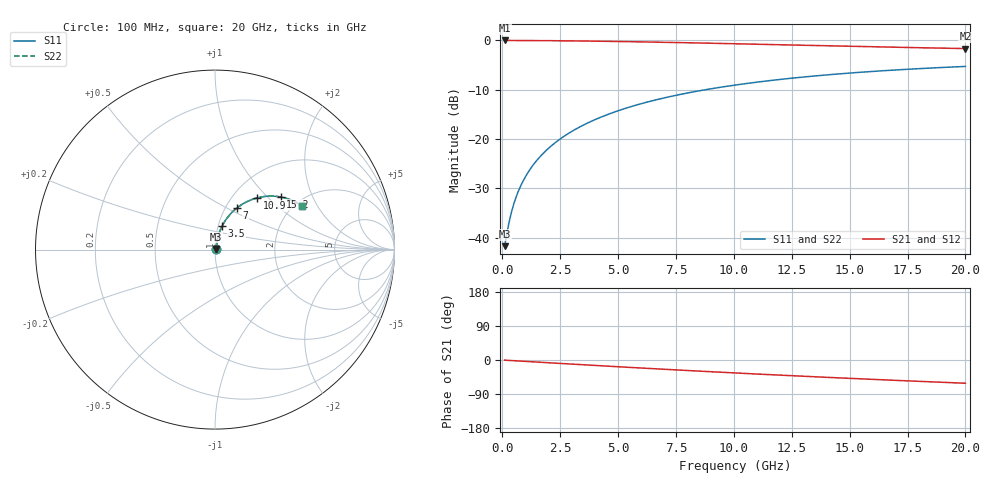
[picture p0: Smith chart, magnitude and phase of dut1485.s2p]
! Touchstone file exported from HFSS 2026.1.0
!  File:  C:/ffzhzh/LocalFiles/Ansys_Project_Files/temp_train_BSMRDL_1485_1783181388_43440.aedt
!  Generated:  12:11:11 AM Jul  5, 2026
!  Design:  BSMRDL
!  Project:  temp_train_BSMRDL_1485_1783181388_43440
! Variables:
!  h_bsmrdl = 4.06um
!  h_ox = 20um
!  h_rdl = 5um
!  h_sub = 80um
!  h_tmrdl = 5um
!  h_tsv = 80um
!  h_via = 3um
!  l_bsmrdl = 970.14um
!  l_sub = 1370.14um
!  l_tmrdl = 200um
!  m_sub = 200um
!  pitch = 36.13um
!  r_tsv = 6um
!  s_tmrdl = 10um
!  w_bsmrdl = 11.98um
!  w_sub = 500um
!  w_tmrdl = 12um
!  x_tsv_center1 = 206um
!  x_tsv_center2 = 1188.12um
!  x_tsv_center3 = 1400.12um
!  x_tsv_center4 = 2382.24um
!  x_tsv_center5 = 2594.24um
!  x_tsv_center6 = 3576.36um
# GHz S MA R 50.000000
! Terminal data exported
! Port[1] = BSM_RDL1_1_T1
! Port[2] = BSM_RDL1_1_T2
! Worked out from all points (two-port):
!   200 points, 100 MHz to 20 GHz, reference 50 ohm
!   highest |S21| = -0.06 dB at 100 MHz (marker M1); lowest = -1.7 dB at 20 GHz (marker M2)
!   |S21| within 3 dB of the highest: start of sweep to end of sweep
!   lowest |S11| = -41.7 dB at 100 MHz (marker M3), VSWR 1.02, Z = 50.7 + j0.429 ohm
!   |S11| at or under -10 dB: start of sweep to 8.813 GHz
!   |S22| runs from -41.7 to -5.3 dB; largest |S21 - S12| = 1.4e-14
!   S11 on the Smith chart (normalised r, x): 100 MHz: 1.01, +0.01; 3.5 GHz: 1.04, +0.28; 7 GHz: 1.13, +0.56; 10.9 GHz: 1.29, +0.87; 15.2 GHz: 1.60, +1.20; 20 GHz: 2.16, +1.50
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0.1  0.008217 30.9  0.993 -0.4  0.993 -0.4  0.008217 30.9
! Gamma 0 0 0 0
! Port Impedance 50 0 50 0
0.3  0.01461 58.8  0.9926 -1.1  0.9926 -1.1  0.01461 58.8
0.4  0.01833 64.4  0.9924 -1.5  0.9924 -1.5  0.01833 64.4
0.5  0.02212 67.9  0.9921 -1.9  0.9921 -1.9  0.02212 67.9
0.6  0.02596 70.3  0.9919 -2.2  0.9919 -2.2  0.02596 70.3
0.8  0.03369 73.3  0.9914 -2.9  0.9914 -2.9  0.03369 73.3
1.1  0.04538 75.5  0.9907 -4.0  0.9907 -4.0  0.04538 75.5
1.6  0.06495 76.5  0.9893 -5.8  0.9893 -5.8  0.06495 76.5
2.1  0.08448 76.2  0.9874 -7.6  0.9874 -7.6  0.08448 76.2
2.7  0.1077 75.1  0.9847 -9.8  0.9847 -9.8  0.1077 75.1
3.5  0.1381 73.1  0.9801 -12.6  0.9801 -12.6  0.1381 73.1
4.2  0.1641 71.1  0.9754 -15.1  0.9754 -15.1  0.1641 71.1
5  0.1929 68.6  0.9693 -17.8  0.9693 -17.8  0.1929 68.6
6.8  0.2542 63.0  0.9533 -23.9  0.9533 -23.9  0.2542 63.0
7  0.2606 62.4  0.9513 -24.5  0.9513 -24.5  0.2606 62.4
8.5  0.307 57.8  0.9362 -29.4  0.9362 -29.4  0.307 57.7
10.1  0.3523 53.0  0.9192 -34.3  0.9192 -34.3  0.3523 53.0
10.9  0.3733 50.6  0.9106 -36.8  0.9106 -36.8  0.3733 50.6
13.4  0.4321 43.6  0.8837 -44.0  0.8837 -44.0  0.4321 43.6
15.2  0.4682 38.8  0.865 -49.0  0.865 -49.0  0.4683 38.8
16.7  0.4947 34.9  0.8504 -53.0  0.8504 -53.0  0.4947 34.9
20  0.5419 26.8  0.8217 -61.4  0.8217 -61.4  0.5419 26.8
